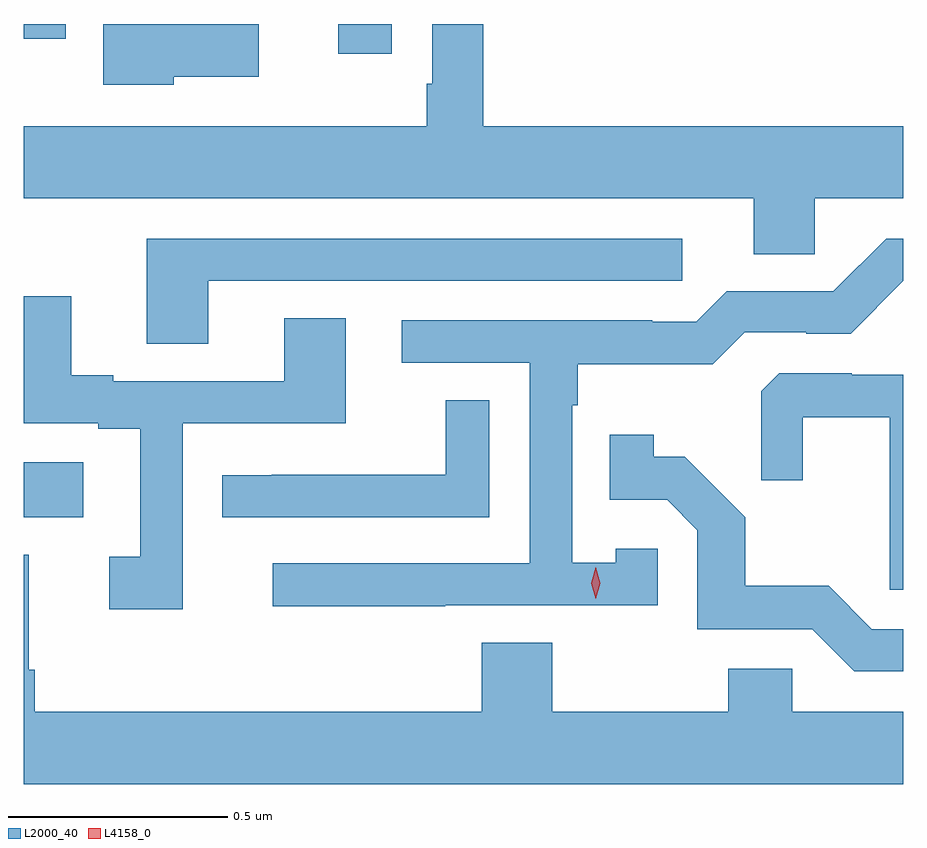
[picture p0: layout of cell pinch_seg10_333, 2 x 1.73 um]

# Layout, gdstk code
import gdstk
lib = gdstk.Library(unit=1e-6, precision=1e-09)
def R(c, l, rs):  # rectangles x0, y0, x1, y1
    for r in rs: c.add(gdstk.rectangle(r[:2], r[2:], *l))
def P(c, l, *ps):  # polygons
    for p in ps: c.add(gdstk.Polygon(p, *l))
L2000_40 = (2000, 40)
L4158_0 = (4158, 0)

pinch_seg10_333 = lib.new_cell('pinch_seg10_333')
R(pinch_seg10_333, L2000_40, [(504.973,1256.967,505.108,1257.091), (505.688,1258.02,505.81,1258.088), (504.973,1258.055,505.069,1258.088)])
P(pinch_seg10_333, L2000_40, [(506.772,1257.692),(506.973,1257.692),(506.973,1257.856),(506.018,1257.856),(506.018,1258.088),(505.902,1258.088),(505.902,1257.952),(505.89,1257.952),(505.89,1257.856),(504.973,1257.856),(504.973,1257.692),(506.633,1257.692),(506.633,1257.565),(506.772,1257.565)],
  [(505.314,1257.968),(505.507,1257.968),(505.507,1258.088),(505.154,1258.088),(505.154,1257.95),(505.314,1257.95)],
  [(505.931,1256.766),(506.415,1256.766),(506.415,1256.895),(506.319,1256.895),(506.319,1256.863),(506.22,1256.863),(506.22,1257.221),(506.233,1257.221),(506.233,1257.314),(506.54,1257.314),(506.613,1257.387),(506.752,1257.387),(506.752,1257.384),(506.853,1257.384),(506.973,1257.504),(506.973,1257.6),(506.934,1257.6),(506.814,1257.48),(506.571,1257.48),(506.502,1257.411),(506.402,1257.411),(506.402,1257.414),(505.833,1257.414),(505.833,1257.318),(506.124,1257.318),(506.124,1256.862),(505.539,1256.862),(505.539,1256.764),(505.931,1256.764)],
  [(505.393,1257.504),(506.47,1257.504),(506.47,1257.6),(505.253,1257.6),(505.253,1257.361),(505.393,1257.361)],
  [(505.335,1257.18),(505.705,1257.18),(505.705,1257.419),(505.565,1257.419),(505.565,1257.276),(505.177,1257.276),(505.177,1257.289),(505.081,1257.289),(505.081,1257.469),(504.973,1257.469),(504.973,1257.18),(505.142,1257.18),(505.142,1257.168),(505.238,1257.168),(505.238,1256.877),(505.167,1256.877),(505.167,1256.757),(505.335,1256.757)],
  [(506.973,1257.291),(506.856,1257.291),(506.856,1257.294),(506.691,1257.294),(506.65,1257.253),(506.65,1257.051),(506.744,1257.051),(506.744,1257.194),(506.942,1257.194),(506.942,1256.802),(506.973,1256.802)],
  [(506.031,1257.233),(505.933,1257.233),(505.933,1257.063),(505.537,1257.063),(505.537,1257.062),(505.425,1257.062),(505.425,1256.967),(506.031,1256.967)],
  [(506.973,1256.712),(506.901,1256.712),(506.803,1256.811),(506.614,1256.811),(506.614,1256.966),(506.476,1257.104),(506.406,1257.104),(506.406,1257.154),(506.305,1257.154),(506.305,1257.006),(506.436,1257.006),(506.505,1256.937),(506.505,1256.712),(506.766,1256.712),(506.862,1256.616),(506.973,1256.616)],
  [(506.973,1256.524),(506.721,1256.524),(506.721,1256.622),(506.575,1256.622),(506.575,1256.524),(506.175,1256.524),(506.175,1256.681),(506.015,1256.681),(506.015,1256.524),(504.998,1256.524),(504.998,1256.62),(504.985,1256.62),(504.985,1256.881),(504.973,1256.881),(504.973,1256.36),(506.973,1256.36)])
P(pinch_seg10_333, L4158_0, [(506.274,1256.781),(506.274,1256.781),(506.264,1256.817),(506.274,1256.853),(506.274,1256.853),(506.274,1256.853),(506.284,1256.817),(506.274,1256.781)])

lib.write_gds('pinch_seg10_333.gds')
